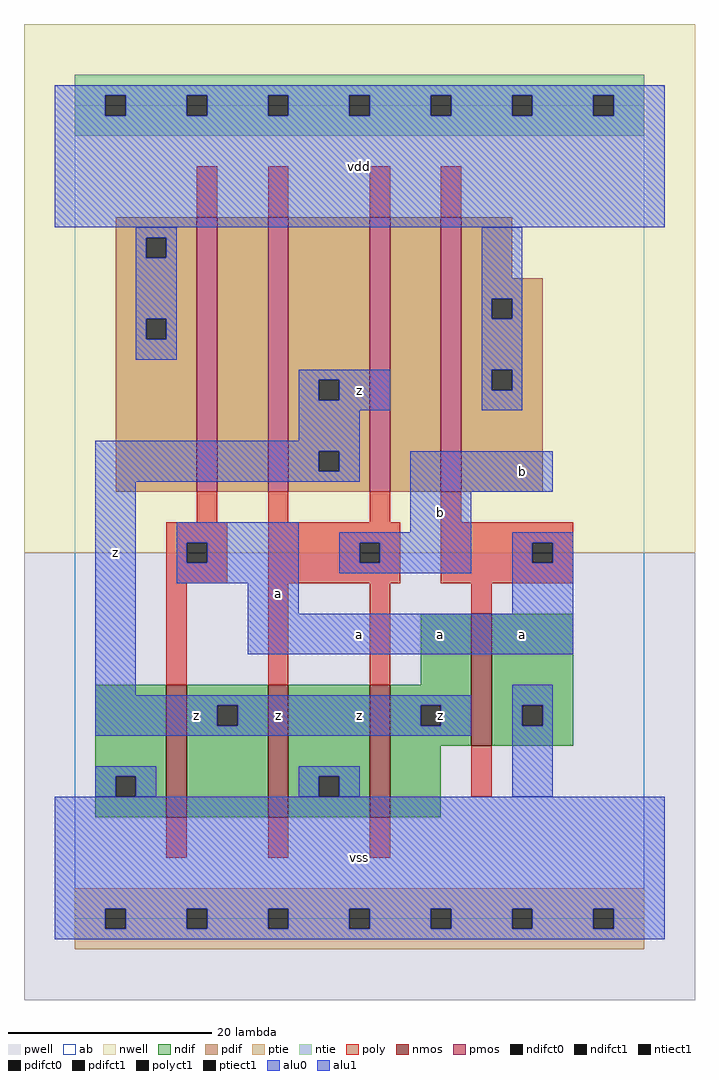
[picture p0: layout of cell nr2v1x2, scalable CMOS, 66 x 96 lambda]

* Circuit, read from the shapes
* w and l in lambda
.subckt nr2v1x2 a b vdd vss z
M1 z a vss vss nfet w=13 l=2 m=2
M2 vss b z vss nfet w=13 l=2 m=2
M3 n1 a vdd vdd pfet w=27 l=2
M4 z b n1 vdd pfet w=27 l=2
M5 n2 b z vdd pfet w=27 l=2
M6 vdd a n2 vdd pfet w=27 l=2
.ends

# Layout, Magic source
magic
tech scmos
<< ab >>
rect 0 0 56 80
<< nwell >>
rect -5 36 61 88
<< pwell >>
rect -5 -8 61 36
<< poly >>
rect 12 69 14 74
rect 19 69 21 74
rect 29 69 31 74
rect 36 69 38 74
rect 12 39 14 42
rect 19 39 21 42
rect 29 39 31 42
rect 36 39 38 42
rect 9 37 15 39
rect 9 35 11 37
rect 13 35 15 37
rect 9 33 15 35
rect 19 37 32 39
rect 19 35 28 37
rect 30 35 32 37
rect 19 33 32 35
rect 36 37 49 39
rect 36 35 45 37
rect 47 35 49 37
rect 36 33 49 35
rect 9 23 11 33
rect 19 23 21 33
rect 29 23 31 33
rect 39 30 41 33
rect 39 12 41 17
rect 9 6 11 10
rect 19 6 21 10
rect 29 6 31 10
<< ndif >>
rect 34 23 39 30
rect 2 14 9 23
rect 2 12 4 14
rect 6 12 9 14
rect 2 10 9 12
rect 11 21 19 23
rect 11 19 14 21
rect 16 19 19 21
rect 11 10 19 19
rect 21 14 29 23
rect 21 12 24 14
rect 26 12 29 14
rect 21 10 29 12
rect 31 21 39 23
rect 31 19 34 21
rect 36 19 39 21
rect 31 17 39 19
rect 41 21 49 30
rect 41 19 44 21
rect 46 19 49 21
rect 41 17 49 19
rect 31 10 36 17
<< pdif >>
rect 4 67 12 69
rect 4 65 7 67
rect 9 65 12 67
rect 4 59 12 65
rect 4 57 7 59
rect 9 57 12 59
rect 4 42 12 57
rect 14 42 19 69
rect 21 53 29 69
rect 21 51 24 53
rect 26 51 29 53
rect 21 46 29 51
rect 21 44 24 46
rect 26 44 29 46
rect 21 42 29 44
rect 31 42 36 69
rect 38 63 43 69
rect 38 61 46 63
rect 38 59 41 61
rect 43 59 46 61
rect 38 54 46 59
rect 38 52 41 54
rect 43 52 46 54
rect 38 42 46 52
<< alu1 >>
rect -2 81 58 82
rect -2 79 3 81
rect 5 79 11 81
rect 13 79 19 81
rect 21 79 27 81
rect 29 79 35 81
rect 37 79 43 81
rect 45 79 51 81
rect 53 79 58 81
rect -2 68 58 79
rect 22 53 31 54
rect 22 51 24 53
rect 26 51 31 53
rect 22 50 31 51
rect 22 47 28 50
rect 2 46 28 47
rect 2 44 24 46
rect 26 44 28 46
rect 2 43 28 44
rect 2 22 6 43
rect 33 42 47 46
rect 10 37 22 39
rect 33 38 39 42
rect 10 35 11 37
rect 13 35 22 37
rect 10 33 22 35
rect 26 37 39 38
rect 26 35 28 37
rect 30 35 39 37
rect 26 34 39 35
rect 43 37 49 38
rect 43 35 45 37
rect 47 35 49 37
rect 17 30 22 33
rect 43 30 49 35
rect 17 26 49 30
rect 2 21 39 22
rect 2 19 14 21
rect 16 19 34 21
rect 36 19 39 21
rect 2 18 39 19
rect -2 1 58 12
rect -2 -1 3 1
rect 5 -1 11 1
rect 13 -1 19 1
rect 21 -1 27 1
rect 29 -1 35 1
rect 37 -1 43 1
rect 45 -1 51 1
rect 53 -1 58 1
rect -2 -2 58 -1
<< ptie >>
rect 0 1 56 3
rect 0 -1 3 1
rect 5 -1 11 1
rect 13 -1 19 1
rect 21 -1 27 1
rect 29 -1 35 1
rect 37 -1 43 1
rect 45 -1 51 1
rect 53 -1 56 1
rect 0 -3 56 -1
<< ntie >>
rect 0 81 56 83
rect 0 79 3 81
rect 5 79 11 81
rect 13 79 19 81
rect 21 79 27 81
rect 29 79 35 81
rect 37 79 43 81
rect 45 79 51 81
rect 53 79 56 81
rect 0 77 56 79
<< nmos >>
rect 9 10 11 23
rect 19 10 21 23
rect 29 10 31 23
rect 39 17 41 30
<< pmos >>
rect 12 42 14 69
rect 19 42 21 69
rect 29 42 31 69
rect 36 42 38 69
<< polyct1 >>
rect 11 35 13 37
rect 28 35 30 37
rect 45 35 47 37
<< ndifct0 >>
rect 4 12 6 14
rect 24 12 26 14
rect 44 19 46 21
<< ndifct1 >>
rect 14 19 16 21
rect 34 19 36 21
<< ntiect1 >>
rect 3 79 5 81
rect 11 79 13 81
rect 19 79 21 81
rect 27 79 29 81
rect 35 79 37 81
rect 43 79 45 81
rect 51 79 53 81
<< ptiect1 >>
rect 3 -1 5 1
rect 11 -1 13 1
rect 19 -1 21 1
rect 27 -1 29 1
rect 35 -1 37 1
rect 43 -1 45 1
rect 51 -1 53 1
<< pdifct0 >>
rect 7 65 9 67
rect 7 57 9 59
rect 41 59 43 61
rect 41 52 43 54
<< pdifct1 >>
rect 24 51 26 53
rect 24 44 26 46
<< alu0 >>
rect 6 67 10 68
rect 6 65 7 67
rect 9 65 10 67
rect 6 59 10 65
rect 6 57 7 59
rect 9 57 10 59
rect 6 55 10 57
rect 40 61 44 68
rect 40 59 41 61
rect 43 59 44 61
rect 40 54 44 59
rect 40 52 41 54
rect 43 52 44 54
rect 40 50 44 52
rect 43 21 47 23
rect 43 19 44 21
rect 46 19 47 21
rect 2 14 8 15
rect 2 12 4 14
rect 6 12 8 14
rect 22 14 28 15
rect 22 12 24 14
rect 26 12 28 14
rect 43 12 47 19
<< labels >>
rlabel alu1 4 36 4 36 6 z
rlabel alu1 20 20 20 20 6 z
rlabel alu1 12 20 12 20 6 z
rlabel alu1 20 32 20 32 6 a
rlabel alu1 28 6 28 6 6 vss
rlabel alu1 36 20 36 20 6 z
rlabel alu1 28 20 28 20 6 z
rlabel alu1 28 28 28 28 6 a
rlabel alu1 36 28 36 28 6 a
rlabel alu1 36 40 36 40 6 b
rlabel alu1 28 52 28 52 6 z
rlabel alu1 28 74 28 74 6 vdd
rlabel alu1 44 28 44 28 6 a
rlabel alu1 44 44 44 44 6 b
<< end >>
